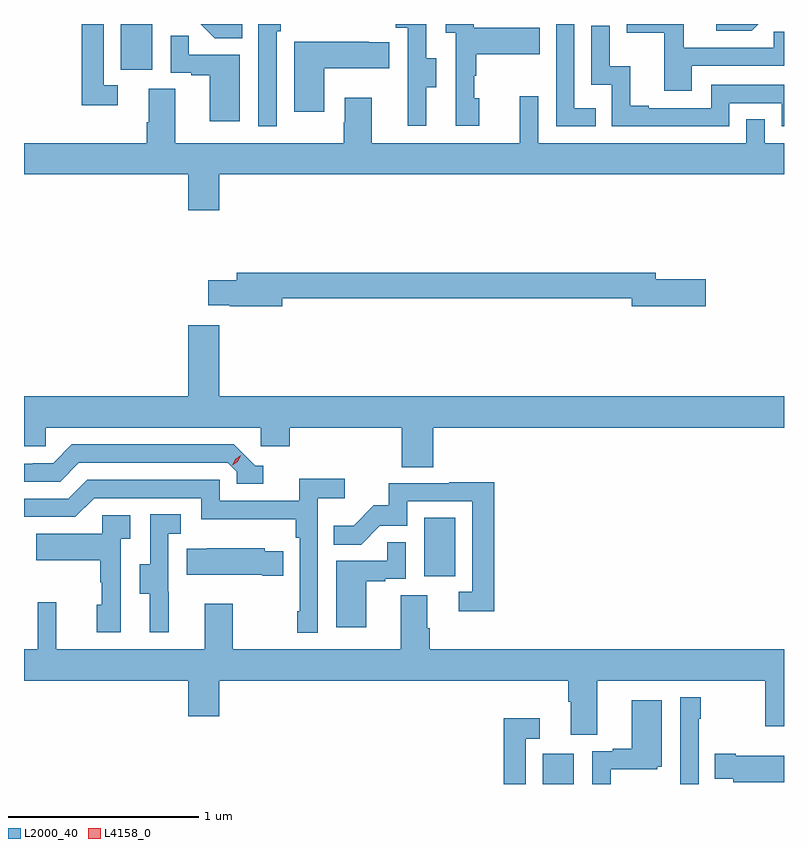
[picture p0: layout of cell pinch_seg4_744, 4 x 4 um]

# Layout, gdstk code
import gdstk
lib = gdstk.Library(unit=1e-6, precision=1e-09)
def R(c, l, rs):  # rectangles x0, y0, x1, y1
    for r in rs: c.add(gdstk.rectangle(r[:2], r[2:], *l))
def P(c, l, *ps):  # polygons
    for p in ps: c.add(gdstk.Polygon(p, *l))
L2000_40 = (2000, 40)
L4158_0 = (4158, 0)

pinch_seg4_744 = lib.new_cell('pinch_seg4_744')
R(pinch_seg4_744, L2000_40, [(862.178,818.92,862.342,819.079), (861.554,820.014,861.718,820.321), (859.958,822.678,860.122,822.92)])
P(pinch_seg4_744, L2000_40, [(860.597,822.92),(860.377,822.92),(860.453,822.844),(860.597,822.844)],
  [(859.942,822.597),(859.869,822.597),(859.869,822.92),(859.753,822.92),(859.753,822.492),(859.942,822.492)],
  [(863.313,822.92),(863.091,822.92),(863.091,822.885),(863.278,822.885)],
  [(861.565,822.586),(861.619,822.586),(861.619,822.741),(861.564,822.741),(861.564,822.92),(861.405,822.92),(861.405,822.901),(861.468,822.901),(861.468,822.597),(861.467,822.597),(861.467,822.384),(861.565,822.384)],
  [(862.457,822.477),(862.344,822.477),(862.344,822.92),(862.248,822.92),(862.248,822.381),(862.457,822.381)],
  [(861.844,822.528),(861.819,822.528),(861.819,822.647),(861.829,822.647),(861.829,822.761),(862.163,822.761),(862.163,822.901),(861.816,822.901),(861.816,822.92),(861.669,822.92),(861.669,822.875),(861.72,822.875),(861.72,822.384),(861.844,822.384)],
  [(862.963,822.699),(863.448,822.699),(863.448,822.879),(863.395,822.879),(863.395,822.795),(862.921,822.795),(862.921,822.92),(862.62,822.92),(862.62,822.873),(862.819,822.873),(862.819,822.57),(862.963,822.57)],
  [(860.778,822.881),(860.798,822.881),(860.798,822.92),(860.682,822.92),(860.682,822.381),(860.778,822.381)],
  [(863.16,822.504),(863.436,822.504),(863.436,822.381),(863.448,822.381),(863.448,822.6),(863.064,822.6),(863.064,822.477),(862.735,822.477),(862.735,822.49),(862.64,822.49),(862.64,822.698),(862.53,822.698),(862.53,822.91),(862.434,822.91),(862.434,822.6),(862.542,822.6),(862.542,822.381),(863.16,822.381)],
  [(860.584,822.759),(860.315,822.759),(860.315,822.857),(860.22,822.857),(860.22,822.663),(860.327,822.663),(860.327,822.651),(860.426,822.651),(860.426,822.408),(860.584,822.408)],
  [(861.028,822.686),(861.371,822.686),(861.371,822.823),(861.263,822.823),(861.263,822.826),(860.87,822.826),(860.87,822.459),(861.028,822.459)],
  [(860.476,822.128),(863.448,822.128),(863.448,822.292),(863.346,822.292),(863.346,822.419),(863.25,822.419),(863.25,822.292),(862.155,822.292),(862.155,822.541),(862.058,822.541),(862.058,822.292),(861.277,822.292),(861.277,822.532),(861.137,822.532),(861.137,822.404),(861.13,822.404),(861.13,822.292),(860.245,822.292),(860.245,822.578),(860.105,822.578),(860.105,822.404),(860.093,822.404),(860.093,822.292),(859.448,822.292),(859.448,822.128),(860.312,822.128),(860.312,821.94),(860.476,821.94)],
  [(860.806,821.476),(862.646,821.476),(862.646,821.434),(863.035,821.434),(863.035,821.576),(862.774,821.576),(862.774,821.612),(860.567,821.612),(860.567,821.571),(860.418,821.571),(860.418,821.441),(860.53,821.441),(860.53,821.434),(860.806,821.434)],
  [(861.602,820.796),(863.448,820.796),(863.448,820.96),(860.476,820.96),(860.476,821.335),(860.312,821.335),(860.312,820.96),(859.448,820.96),(859.448,820.698),(859.563,820.698),(859.563,820.796),(860.694,820.796),(860.694,820.698),(860.846,820.698),(860.846,820.796),(861.437,820.796),(861.437,820.588),(861.602,820.588)],
  [(860.707,820.596),(860.664,820.596),(860.553,820.707),(859.7,820.707),(859.601,820.608),(859.494,820.608),(859.494,820.605),(859.448,820.605),(859.448,820.512),(859.638,820.512),(859.737,820.611),(860.52,820.611),(860.568,820.563),(860.568,820.5),(860.707,820.5)],
  [(860.994,820.424),(861.136,820.424),(861.136,820.526),(860.897,820.526),(860.897,820.41),(860.478,820.41),(860.478,820.521),(859.781,820.521),(859.682,820.422),(859.448,820.422),(859.448,820.326),(859.719,820.326),(859.818,820.425),(860.382,820.425),(860.382,820.313),(860.878,820.313),(860.878,820.217),(860.898,820.217),(860.898,819.829),(860.886,819.829),(860.886,819.717),(860.994,819.717)],
  [(861.923,820.508),(861.685,820.508),(861.685,820.503),(861.367,820.503),(861.367,820.386),(861.29,820.386),(861.183,820.279),(861.079,820.279),(861.079,820.18),(861.223,820.18),(861.321,820.278),(861.465,820.278),(861.465,820.407),(861.807,820.407),(861.807,819.933),(861.735,819.933),(861.735,819.828),(861.923,819.828)],
  [(860.21,819.933),(860.208,819.933),(860.208,820.237),(860.272,820.237),(860.272,820.34),(860.112,820.34),(860.112,820.077),(860.057,820.077),(860.057,819.922),(860.111,819.922),(860.111,819.72),(860.21,819.72)],
  [(859.956,820.211),(860.008,820.211),(860.008,820.335),(859.86,820.335),(859.86,820.237),(859.513,820.237),(859.513,820.097),(859.848,820.097),(859.848,819.983),(859.858,819.983),(859.858,819.864),(859.832,819.864),(859.832,819.72),(859.956,819.72)],
  [(861.25,819.987),(861.35,819.987),(861.35,819.999),(861.456,819.999),(861.456,820.193),(861.361,820.193),(861.361,820.095),(861.092,820.095),(861.092,819.744),(861.25,819.744)],
  [(860.813,820.144),(860.715,820.144),(860.715,820.162),(860.413,820.162),(860.413,820.159),(860.305,820.159),(860.305,820.022),(860.702,820.022),(860.702,820.015),(860.813,820.015)],
  [(860.399,819.868),(860.399,819.628),(859.619,819.628),(859.619,819.877),(859.521,819.877),(859.521,819.628),(859.448,819.628),(859.448,819.464),(860.312,819.464),(860.312,819.276),(860.476,819.276),(860.476,819.464),(862.313,819.464),(862.313,819.352),(862.325,819.352),(862.325,819.178),(862.465,819.178),(862.465,819.464),(863.35,819.464),(863.35,819.225),(863.448,819.225),(863.448,819.628),(861.584,819.628),(861.584,819.74),(861.571,819.74),(861.571,819.914),(861.431,819.914),(861.431,819.628),(860.547,819.628),(860.547,819.868)],
  [(862.998,819.263),(863.011,819.263),(863.011,819.376),(862.902,819.376),(862.902,818.92),(862.998,818.92)],
  [(862.535,818.997),(862.782,818.997),(862.782,819.012),(862.804,819.012),(862.804,819.361),(862.646,819.361),(862.646,819.106),(862.547,819.106),(862.547,819.093),(862.44,819.093),(862.44,818.92),(862.535,818.92)],
  [(862.089,819.159),(862.162,819.159),(862.162,819.265),(861.973,819.265),(861.973,818.92),(862.089,818.92)],
  [(863.448,819.07),(863.194,819.07),(863.194,819.078),(863.083,819.078),(863.083,818.948),(863.181,818.948),(863.181,818.93),(863.448,818.93)])
P(pinch_seg4_744, L4158_0, [(860.543,820.598),(860.543,820.598),(860.559,820.63),(860.59,820.65),(860.59,820.65),(860.59,820.649),(860.574,820.617),(860.543,820.598)])

lib.write_gds('pinch_seg4_744.gds')
